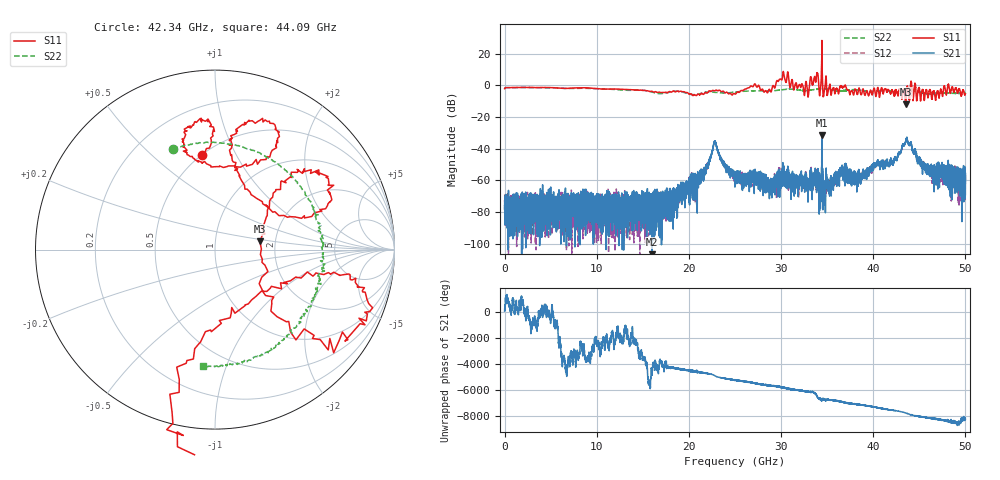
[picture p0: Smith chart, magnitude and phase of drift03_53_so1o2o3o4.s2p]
!Created with skrf (http://scikit-rf.org).
# Hz S RI R 50.0
!freq ReS11 ImS11 ReS21 ImS21 ReS12 ImS12 ReS22 ImS22
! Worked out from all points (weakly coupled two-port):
!   10000 points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, 5.3 MHz to 50 GHz, reference 50 ohm
!   highest |S21| = -31.64 dB at 34.43 GHz (marker M1); lowest = -126.8 dB at 16 GHz (marker M2)
!   lowest |S11| = -11.9 dB at 43.52 GHz (marker M3), VSWR 1.68, Z = 82.7 + j8.31 ohm
!   |S11| at or under -10 dB: 43.48442 GHz to 43.54453 GHz (60.11 MHz wide, 0.138 % of centre); 43.54591 GHz to 43.55561 GHz (9.701 MHz wide, 0.0223 % of centre)
!   |S22| runs from -5.9 to -1.3 dB; largest |S21 - S12| = 0.0043
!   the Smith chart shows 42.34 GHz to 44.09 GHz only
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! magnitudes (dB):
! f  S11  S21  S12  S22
! 5.3 MHz  -2.1  -76.1  -72.5  -2.1
! 8.34 GHz  -1.5  -79.6  -74.4  -1.9
! 16 GHz  -3.8  -126.8  -68.5  -4.2
! 16.67 GHz  -4.4  -72.2  -78.3  -5.2
! 20.82 GHz  -6.4  -71.8  -60.0  -5.7
! 21.9 GHz  -4.8  -52.3  -51.9  -4.4
! 22.82 GHz  -3.4  -35.6  -35.7  -4.5
! 23.89 GHz  -4.7  -51.0  -50.1  -4.9
! 25.01 GHz  -5.5  -54.5  -55.6  -4.2
! 27.02 GHz  -0.3  -60.1  -57.0  -3.5
! 28.72 GHz  -2.5  -64.4  -63.7  -3.5
! 30.14 GHz  4.4  -56.2  -60.1  -2.8
! 32.74 GHz  2.0  -56.0  -56.6  -3.3
! 33.34 GHz  2.6  -56.2  -56.7  -2.9
! 34.43 GHz  28.4  -31.6  -31.7  -2.3
! 35.27 GHz  -0.1  -65.1  -62.5  -2.6
! 36.83 GHz  -0.8  -56.7  -55.3  -3.5
! 38.47 GHz  -1.7  -55.0  -55.9  -3.0
! 41.67 GHz  -2.9  -49.9  -50.9  -3.7
! 43.52 GHz  -11.9  -35.6  -35.8  -4.3
! 45.94 GHz  -7.7  -52.2  -52.2  -5.5
! 50 GHz  -5.3  -60.8  -62.4  -4.9
